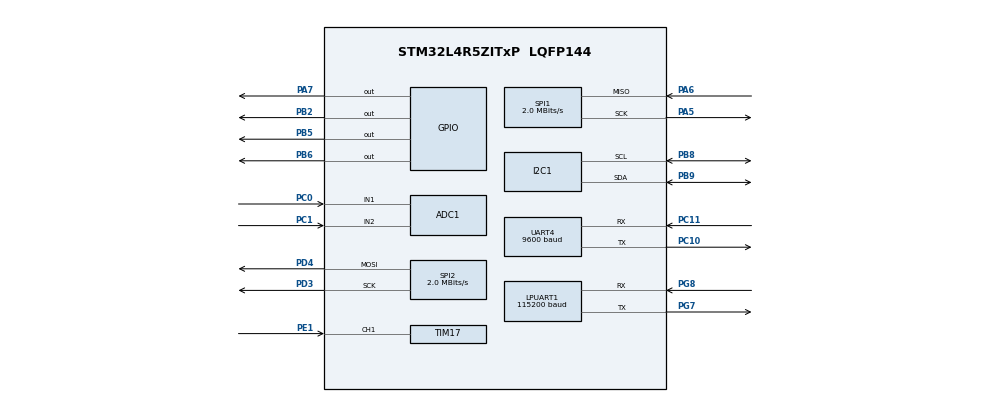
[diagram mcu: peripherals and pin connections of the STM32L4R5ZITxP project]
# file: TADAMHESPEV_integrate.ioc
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ADC1.Channel-0\#ChannelRegularConversion=ADC_CHANNEL_1
ADC1.Channel-1\#ChannelRegularConversion=ADC_CHANNEL_2
ADC1.ClockPrescaler=ADC_CLOCK_ASYNC_DIV32
ADC1.EnableAnalogWatchDog1=false
ADC1.NbrOfConversion=2
ADC1.NbrOfConversionFlag=1
ADC1.OffsetNumber-0\#ChannelRegularConversion=ADC_OFFSET_NONE
ADC1.OffsetNumber-1\#ChannelRegularConversion=ADC_OFFSET_NONE
ADC1.Rank-0\#ChannelRegularConversion=1
ADC1.Rank-1\#ChannelRegularConversion=2
ADC1.SamplingTime-0\#ChannelRegularConversion=ADC_SAMPLETIME_640CYCLES_5
ADC1.SamplingTime-1\#ChannelRegularConversion=ADC_SAMPLETIME_640CYCLES_5
ADC1.master=1
Dma.ADC1.0.Direction=DMA_PERIPH_TO_MEMORY
Dma.ADC1.0.EventEnable=DISABLE
Dma.ADC1.0.Instance=DMA1_Channel1
Dma.ADC1.0.MemDataAlignment=DMA_MDATAALIGN_HALFWORD
Dma.ADC1.0.MemInc=DMA_MINC_ENABLE
Dma.ADC1.0.Mode=DMA_NORMAL
Dma.ADC1.0.PeriphDataAlignment=DMA_PDATAALIGN_HALFWORD
Dma.ADC1.0.PeriphInc=DMA_PINC_DISABLE
Dma.ADC1.0.Polarity=HAL_DMAMUX_REQUEST_GEN_RISING
Dma.ADC1.0.Priority=DMA_PRIORITY_LOW
Dma.ADC1.0.RequestNumber=1
Dma.ADC1.0.SignalID=NONE
Dma.ADC1.0.SyncEnable=DISABLE
Dma.ADC1.0.SyncPolarity=HAL_DMAMUX_SYNC_NO_EVENT
Dma.ADC1.0.SyncRequestNumber=1
Dma.ADC1.0.SyncSignalID=NONE
Dma.Request0=ADC1
LPUART1.BaudRate=115200
LPUART1.WordLength=UART_WORDLENGTH_8B
Mcu.Family=STM32L4
Mcu.Name=STM32L4R5ZITxP
Mcu.Package=LQFP144
NVIC.DMA1_Channel1_IRQn=true\:0\:0\:false\:false\:true\:false\:true\:true
NVIC.PriorityGroup=NVIC_PRIORITYGROUP_2
NVIC.TIM1_BRK_TIM15_IRQn=true\:1\:0\:true\:false\:true\:true\:true\:true
NVIC.TIM1_TRG_COM_TIM17_IRQn=true\:0\:0\:false\:false\:true\:true\:true\:true
NVIC.TIM3_IRQn=true\:1\:1\:true\:false\:true\:true\:true\:true
PA0.Signal=S_TIM2_CH1
PA1.Signal=ADCx_IN6
PA10.Signal=USB_OTG_FS_ID
PA13\ (JTMS/SWDIO).Signal=SYS_JTMS-SWDIO
PA14\ (JTCK/SWCLK).Signal=SYS_JTCK-SWCLK
PA3.Signal=ADCx_IN8
PA4.Signal=SPI1_NSS
PA5.Mode=RX_Only_Simplex_Unidirect_Master
PA5.Signal=SPI1_SCK
PA6.Mode=RX_Only_Simplex_Unidirect_Master
PA6.Signal=SPI1_MISO
PA7.Signal=GPIO_Output
PA8.Signal=USB_OTG_FS_SOF
PA9.Signal=USB_OTG_FS_VBUS
PB0.Signal=S_TIM3_CH3
PB1.Signal=ADCx_IN16
PB10.Signal=S_TIM2_CH3
PB12.Signal=SAI2_FS_A
PB13.Signal=SAI2_SCK_A
PB14.Signal=S_TIM15_CH1
PB15.Signal=SAI2_SD_A
PB2.Signal=GPIO_Output
PB3\ (JTDO/TRACESWO).Signal=SPI3_SCK
PB4\ (NJTRST).Signal=SPI3_MISO
PB5.Signal=GPIO_Output
PB6.Signal=GPIO_Output
PB8.Mode=I2C
PB8.Signal=I2C1_SCL
PB9.Mode=I2C
PB9.Signal=I2C1_SDA
PC0.Signal=ADCx_IN1
PC1.Signal=ADCx_IN2
PC10.Mode=Asynchronous
PC10.Signal=UART4_TX
PC11.Mode=Asynchronous
PC11.Signal=UART4_RX
PC12.Signal=SDMMC1_CK
PC13.Signal=SYS_WKUP2
PC14-OSC32_IN\ (PC14).Signal=RCC_OSC32_IN
PC15-OSC32_OUT\ (PC15).Signal=RCC_OSC32_OUT
PC2.Signal=ADCx_IN3
PC3.Signal=ADCx_IN4
PC4.Signal=ADCx_IN13
PC5.Signal=ADCx_IN14
PC6.Signal=SAI2_MCLK_A
PC7.Signal=S_TIM3_CH2
PC8.Signal=SDMMC1_D0
PC9.Signal=SDMMC1_D1
PD0.Signal=CAN1_RX
PD14.Signal=S_TIM4_CH3
PD15.Signal=S_TIM4_CH4
PD2.Signal=SDMMC1_CMD
PD3.Mode=TX_Only_Simplex_Unidirect_Master
PD3.Signal=SPI2_SCK
PD4.Mode=TX_Only_Simplex_Unidirect_Master
PD4.Signal=SPI2_MOSI
PD5.Signal=USART2_TX
PD6.Signal=SPI3_MOSI
PD8.Signal=USART3_TX
PD9.Signal=USART3_RX
PE0.Signal=S_TIM4_ETR
PE1.Signal=S_TIM17_CH1
PE10.Signal=TIM1_CH2N
PE11.Signal=S_TIM1_CH2
PE12.Signal=TIM1_CH3N
PE13.Signal=S_TIM1_CH3
PE14.Signal=TIM1_BKIN2
PE15.Signal=TIM1_BKIN
PE2.Signal=SAI1_MCLK_A
PE3.Signal=SAI1_SD_B
PE7.Signal=S_TIM1_ETR
PE8.Signal=TIM1_CH1N
PE9.Signal=S_TIM1_CH1
PF0.Signal=I2C2_SDA
PF1.Signal=I2C2_SCL
PF2.Signal=I2C2_SMBA
PF7.Signal=SAI1_MCLK_B
PG7.Mode=Asynchronous
PG7.Signal=LPUART1_TX
PG8.Mode=Asynchronous
PG8.Signal=LPUART1_RX
PH0-OSC_IN\ (PH0).Signal=RCC_OSC_IN
PH1-OSC_OUT\ (PH1).Signal=RCC_OSC_OUT
ProjectManager.HeapSize=0x200
ProjectManager.StackSize=0x400
ProjectManager.TargetToolchain=STM32CubeIDE
RCC.ADCFreq_Value=32000000
RCC.HSE_VALUE=8000000
RCC.HSI48_VALUE=48000000
RCC.HSI_VALUE=16000000
RCC.LSE_VALUE=32768
RCC.MSI_VALUE=4000000
RCC.PLLSAI1N=16
RCC.USBFreq_Value=32000000
RCC.VCOOutputFreq_Value=32000000
SH.ADCx_IN1.0=ADC1_IN1,IN1-Single-Ended
SH.ADCx_IN13.0=ADC1_IN13
SH.ADCx_IN14.0=ADC1_IN14
SH.ADCx_IN16.0=ADC1_IN16
SH.ADCx_IN2.0=ADC1_IN2,IN2-Single-Ended
SH.ADCx_IN3.0=ADC1_IN3
SH.ADCx_IN4.0=ADC1_IN4
SH.ADCx_IN6.0=ADC1_IN6
SH.ADCx_IN8.0=ADC1_IN8
SH.S_TIM15_CH1.0=TIM15_CH1
SH.S_TIM17_CH1.0=TIM17_CH1,Input_Capture1_from_TI1
SH.S_TIM1_CH1.0=TIM1_CH1
SH.S_TIM1_CH2.0=TIM1_CH2
SH.S_TIM1_CH3.0=TIM1_CH3
SH.S_TIM1_ETR.0=TIM1_ETR
SH.S_TIM2_CH1.0=TIM2_CH1
SH.S_TIM2_CH3.0=TIM2_CH3
SH.S_TIM3_CH2.0=TIM3_CH2
SH.S_TIM3_CH3.0=TIM3_CH3
SH.S_TIM4_CH3.0=TIM4_CH3
SH.S_TIM4_CH4.0=TIM4_CH4
SH.S_TIM4_ETR.0=TIM4_ETR
SPI1.CalculateBaudRate=2.0 MBits/s
SPI1.DataSize=SPI_DATASIZE_16BIT
SPI1.Direction=SPI_DIRECTION_2LINES_RXONLY
SPI1.Mode=SPI_MODE_MASTER
SPI1.VirtualType=VM_MASTER
SPI2.CalculateBaudRate=2.0 MBits/s
SPI2.DataSize=SPI_DATASIZE_8BIT
SPI2.Direction=SPI_DIRECTION_2LINES
SPI2.Mode=SPI_MODE_MASTER
SPI2.VirtualType=VM_MASTER
TIM15.Period=49
TIM15.Prescaler=3999
TIM17.Channel=TIM_CHANNEL_1
TIM17.ICFilter_CH1=15
TIM17.ICPolarity_CH1=TIM_INPUTCHANNELPOLARITY_FALLING
TIM17.Prescaler=3999
TIM3.Period=499
TIM3.Prescaler=3999
UART4.BaudRate=9600
VP_TIM15_VS_ClockSourceINT.Mode=Internal
VP_TIM17_VS_ClockSourceINT.Mode=Enable_Timer
VP_TIM3_VS_ClockSourceINT.Mode=Internal
board=NUCLEO-L4R5ZI-P

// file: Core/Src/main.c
/* USER CODE BEGIN Header */
/**
  ******************************************************************************
  * @file           : main.c
  * @brief          : Main program body
  ******************************************************************************
  * @attention
  *
  * Copyright (c) 2023 STMicroelectronics.
  * All rights reserved.
  *
  * This software is licensed under terms that can be found in the LICENSE file
  * in the root directory of this software component.
  * If no LICENSE file comes with this software, it is provided AS-IS.
  *
  ******************************************************************************
  */
/* USER CODE END Header */
#include "main.h"

/* USER CODE BEGIN Includes */
#include "stdio.h"
#include "acc.h"
#include "led.h"
#include "TADAMHESPEVDataTemplate.h"
#include "math.h"
#include "stdlib.h"
/* USER CODE END Includes */

ADC_HandleTypeDef hadc1;
DMA_HandleTypeDef hdma_adc1;

I2C_HandleTypeDef hi2c1;

UART_HandleTypeDef hlpuart1;
UART_HandleTypeDef huart4;

SPI_HandleTypeDef hspi1;
SPI_HandleTypeDef hspi2;

TIM_HandleTypeDef htim3;
TIM_HandleTypeDef htim15;
TIM_HandleTypeDef htim17;

void SystemClock_Config(void);
static void MX_GPIO_Init(void);
static void MX_DMA_Init(void);
static void MX_I2C1_Init(void);
static void MX_SPI1_Init(void);
static void MX_TIM3_Init(void);
static void MX_TIM15_Init(void);
static void MX_TIM17_Init(void);
static void MX_LPUART1_UART_Init(void);
static void MX_SPI2_Init(void);
static void MX_UART4_Init(void);
static void MX_ADC1_Init(void);
/* USER CODE BEGIN PFP */
void TADStructToBuffer(float*, volatile struct TelData*);
/* USER CODE END PFP */

/* USER CODE BEGIN 0 */
volatile struct TelData teldata;
uint8_t buf[20];
struct Kalman {
	float prev_estimate;
	float gain;
	float signal_estimate;
	float error_estimate;
};

volatile struct Kalman volt_filter;
volatile struct Kalman curr_filter;

volatile uint16_t curVoltADC_DMA[2]; //https://www.youtube.com/watch?v=AloHXBk6Bfk
const int adcChannelCount = 2;
volatile int adcConversionComplete = 0;//set by callback

float volt_constant = 69.0 / (0b1 << 12);
float curr_constant = 3.3 / (0b1 << 12);

float KalmanEstimate(struct Kalman *filter, float measurement, float meas_error, float est_error, float noise) {
	if (filter->error_estimate == 0) filter->error_estimate = meas_error;
	filter->gain = filter->error_estimate/(filter->error_estimate + meas_error);
	filter->signal_estimate = filter->prev_estimate + filter->gain*(measurement - filter->prev_estimate);
	filter->error_estimate = (1.0 - filter->gain)*filter->error_estimate + fabs(filter->prev_estimate - filter->signal_estimate)*noise;
	filter->prev_estimate = filter->signal_estimate;
	return filter->signal_estimate;
}

uint16_t read_Temperature(uint16_t GPIO_PIN) {
	uint16_t spi_buf[2];
	// Set the CS1 pin to low
	HAL_GPIO_WritePin(GPIOB, GPIO_PIN, GPIO_PIN_RESET);

	// Receive the data
	HAL_SPI_Receive(&hspi1, spi_buf, sizeof(spi_buf), 100);

	// Set the CS pin back to high
	HAL_GPIO_WritePin(GPIOB, GPIO_PIN, GPIO_PIN_SET);

	// delay for a bit
//	HAL_Delay(1000);

	// handle the data
	// spi_buf[0] contains the first 16 bits of data
	// spi_buf[1] contains the last 16 bits of data
	uint16_t external_temp = 0;
	uint16_t internal_temp = 0;
	uint8_t fault = 0;
	external_temp |= (spi_buf[0] >> 2) & 0xFFFF; // keep all data values
	internal_temp |= (spi_buf[1] >> 4) & 0xFFFF; // keep all data values
	fault |= spi_buf[0] & 0x01; // only want the LSB
//	printf("External Temperature of %d: %d \n\r", GPIO_PIN, (external_temp/4));
//	printf("Internal Temperature of %d: %d \n\r", GPIO_PIN, (internal_temp/16));
	if(fault) {
		printf("ERROR \n\r");
	}

	// reset spi_buffer
	spi_buf[0] = 0;
	spi_buf[1] = 0;

	return external_temp/4;
}

#define NUM_CUR_READS 10
void CalculateCurrent(uint16_t adcRead){
	float curr = ((adcRead*curr_constant) - 1.72)/0.0545; //adc equation to get input current
	teldata.current = KalmanEstimate(&curr_filter,curr,1.0,1.0,0.015);
}

void CalculateVoltage(uint16_t adcRead){
	float volt = adcRead * volt_constant; //adc equation to get input voltage
	teldata.voltage = KalmanEstimate(&volt_filter,volt,1.0,1.0,0.015);
}

void TakeADCMeasurement(){
	HAL_ADC_Start_DMA(&hadc1, (uint32_t*) curVoltADC_DMA, adcChannelCount);
	while (adcConversionComplete == 0);
	adcConversionComplete = 0;

}
/* USER CODE END 0 */

int main(void)
{

  /* MCU Configuration--------------------------------------------------------*/

  /* Reset of all peripherals, Initializes the Flash interface and the Systick. */
  HAL_Init();

  /* Configure the system clock */
  SystemClock_Config();

  /* USER CODE BEGIN SysInit */
  HAL_Delay(6000); //wait for lcd to set up
  /* USER CODE END SysInit */

  /* Initialize all configured peripherals */
  MX_GPIO_Init();
  MX_DMA_Init();
  MX_I2C1_Init();
  MX_SPI1_Init();
  MX_TIM3_Init();
  MX_TIM15_Init();
  MX_TIM17_Init();
  MX_LPUART1_UART_Init();
  MX_SPI2_Init();
  MX_UART4_Init();
  MX_ADC1_Init();
  /* USER CODE BEGIN 2 */
  printf("start integrated\n");
  	uint8_t junk[19];
	HAL_UART_Transmit(&huart4, (uint8_t*) &junk, sizeof(junk), 100); //clear uart of secondary mcu
	// CS for all sensors should be high
	HAL_GPIO_WritePin(GPIOB, GPIO_PIN_5, GPIO_PIN_SET);
	HAL_GPIO_WritePin(GPIOB, GPIO_PIN_2, GPIO_PIN_SET);
	HAL_GPIO_WritePin(GPIOB, GPIO_PIN_6, GPIO_PIN_SET);

	setupAccModule();
	setupLEDS();

	// Start Timer
	HAL_TIM_Base_Start_IT(&htim3);
	HAL_TIM_Base_Start_IT(&htim15);
	HAL_TIM_IC_Start_IT(&htim17,TIM_CHANNEL_1);

	float buff[5];
	int voltageLoopCount = 0;
	int speedCount = 0;
	const int numSamples = 10;
	uint32_t curAvg = 0, volAvg = 0;

  /* USER CODE END 2 */

  /* Infinite loop */
  /* USER CODE BEGIN WHILE */

  while (1)
  {

//	  	uint32_t ADC_VAL = 0;
//		HAL_ADC_Start(&hadc1);	//start conversion
//		HAL_ADC_PollForConversion(&hadc1, 0xFFFFFFFF);//wait for conversion to finish
//		ADC_VAL = HAL_ADC_GetValue(&hadc1);//retrieve value
//		teldata.current = ADC_VAL;
//		printf("adcval: %d\n", ADC_VAL);

	  	for(int i = 0; i < numSamples ; ++i){ //take 10 samples
	  		TakeADCMeasurement();
	  		volAvg += curVoltADC_DMA[0];
	  		curAvg += curVoltADC_DMA[1];
	  	}
	  	curAvg/=numSamples;
	  	volAvg/=numSamples;
	  	printf("CUR AVG %d, VOL AVG %d\n", curAvg, volAvg);
	  	CalculateCurrent(curAvg);
	  	if(voltageLoopCount == 0 || (++voltageLoopCount)%20==0) CalculateVoltage(volAvg);

//	  	HAL_ADC_Start_DMA(&hadc1, (uint32_t*)curVoltADC_DMA, adcChannelCount);
//	  	while(adcConversionComplete==0);
//	  	adcConversionComplete = 0;
//	  	CalculateCurrent(curVoltADC_DMA[0]);
//	  	if((++voltageLoopCount)%60==0) CalculateVoltage(curVoltADC_DMA[1]);

	  	//printf("ADC CURRENT %d, ADC VOLT %d", curVoltADC_DMA[0], curVoltADC_DMA[1]);
	  	if (teldata.speed == buff[2]) {
	  		speedCount++;
	  	} else {
	  		speedCount = 0;
	  	}
	  	if (speedCount >= 3) {
	  		teldata.speed = 0;
	  	}

		printf("Telemetry Data:\n");
		printf("Acceleration: %f\n", teldata.accel);
		printf("Temperature: %f\n", teldata.temp);
		printf("Speed: %f\n", teldata.speed);
		printf("Voltage: %f\n", teldata.voltage);
		printf("Current: %f\n\n", teldata.current);

		TADStructToBuffer(buff, &teldata);
		HAL_TIM_Base_Stop_IT(&htim15);
//		HAL_Delay(200);
		HAL_UART_Transmit(&huart4, (uint8_t*) &buff, sizeof(buff), 100);
		HAL_Delay(200);
		HAL_TIM_Base_Start_IT(&htim15);
		printf("uart trans\n");
		HAL_Delay(500);
    /* USER CODE END WHILE */

  }
}

void SystemClock_Config(void)
{
  RCC_OscInitTypeDef RCC_OscInitStruct = {0};
  RCC_ClkInitTypeDef RCC_ClkInitStruct = {0};

  /** Configure the main internal regulator output voltage
  */
  if (HAL_PWREx_ControlVoltageScaling(PWR_REGULATOR_VOLTAGE_SCALE1) != HAL_OK)
  {
    Error_Handler();
  }

  /** Initializes the RCC Oscillators according to the specified parameters
  * in the RCC_OscInitTypeDef structure.
  */
  RCC_OscInitStruct.OscillatorType = RCC_OSCILLATORTYPE_MSI;
  RCC_OscInitStruct.MSIState = RCC_MSI_ON;
  RCC_OscInitStruct.MSICalibrationValue = 0;
  RCC_OscInitStruct.MSIClockRange = RCC_MSIRANGE_6;
  RCC_OscInitStruct.PLL.PLLState = RCC_PLL_NONE;
  if (HAL_RCC_OscConfig(&RCC_OscInitStruct) != HAL_OK)
  {
    Error_Handler();
  }

  /** Initializes the CPU, AHB and APB buses clocks
  */
  RCC_ClkInitStruct.ClockType = RCC_CLOCKTYPE_HCLK|RCC_CLOCKTYPE_SYSCLK
                              |RCC_CLOCKTYPE_PCLK1|RCC_CLOCKTYPE_PCLK2;
  RCC_ClkInitStruct.SYSCLKSource = RCC_SYSCLKSOURCE_MSI;
  RCC_ClkInitStruct.AHBCLKDivider = RCC_SYSCLK_DIV1;
  RCC_ClkInitStruct.APB1CLKDivider = RCC_HCLK_DIV1;
  RCC_ClkInitStruct.APB2CLKDivider = RCC_HCLK_DIV1;

  if (HAL_RCC_ClockConfig(&RCC_ClkInitStruct, FLASH_LATENCY_0) != HAL_OK)
  {
    Error_Handler();
  }
}

static void MX_ADC1_Init(void)
{

  ADC_ChannelConfTypeDef sConfig = {0};

  /** Common config
  */
  hadc1.Instance = ADC1;
  hadc1.Init.ClockPrescaler = ADC_CLOCK_ASYNC_DIV32;
  hadc1.Init.Resolution = ADC_RESOLUTION_12B;
  hadc1.Init.DataAlign = ADC_DATAALIGN_RIGHT;
  hadc1.Init.ScanConvMode = ADC_SCAN_ENABLE;
  hadc1.Init.EOCSelection = ADC_EOC_SINGLE_CONV;
  hadc1.Init.LowPowerAutoWait = DISABLE;
  hadc1.Init.ContinuousConvMode = DISABLE;
  hadc1.Init.NbrOfConversion = 2;
  hadc1.Init.DiscontinuousConvMode = DISABLE;
  hadc1.Init.ExternalTrigConv = ADC_SOFTWARE_START;
  hadc1.Init.ExternalTrigConvEdge = ADC_EXTERNALTRIGCONVEDGE_NONE;
  hadc1.Init.DMAContinuousRequests = DISABLE;
  hadc1.Init.Overrun = ADC_OVR_DATA_PRESERVED;
  hadc1.Init.OversamplingMode = DISABLE;
  if (HAL_ADC_Init(&hadc1) != HAL_OK)
  {
    Error_Handler();
  }

  /** Configure Regular Channel
  */
  sConfig.Channel = ADC_CHANNEL_1;
  sConfig.Rank = ADC_REGULAR_RANK_1;
  sConfig.SamplingTime = ADC_SAMPLETIME_640CYCLES_5;
  sConfig.SingleDiff = ADC_SINGLE_ENDED;
  sConfig.OffsetNumber = ADC_OFFSET_NONE;
  sConfig.Offset = 0;
  if (HAL_ADC_ConfigChannel(&hadc1, &sConfig) != HAL_OK)
  {
    Error_Handler();
  }

  /** Configure Regular Channel
  */
  sConfig.Channel = ADC_CHANNEL_2;
  sConfig.Rank = ADC_REGULAR_RANK_2;
  if (HAL_ADC_ConfigChannel(&hadc1, &sConfig) != HAL_OK)
  {
    Error_Handler();
  }

}

static void MX_I2C1_Init(void)
{

  hi2c1.Instance = I2C1;
  hi2c1.Init.Timing = 0x00000E14;
  hi2c1.Init.OwnAddress1 = 0;
  hi2c1.Init.AddressingMode = I2C_ADDRESSINGMODE_7BIT;
  hi2c1.Init.DualAddressMode = I2C_DUALADDRESS_DISABLE;
  hi2c1.Init.OwnAddress2 = 0;
  hi2c1.Init.OwnAddress2Masks = I2C_OA2_NOMASK;
  hi2c1.Init.GeneralCallMode = I2C_GENERALCALL_DISABLE;
  hi2c1.Init.NoStretchMode = I2C_NOSTRETCH_DISABLE;
  if (HAL_I2C_Init(&hi2c1) != HAL_OK)
  {
    Error_Handler();
  }

  /** Configure Analogue filter
  */
  if (HAL_I2CEx_ConfigAnalogFilter(&hi2c1, I2C_ANALOGFILTER_ENABLE) != HAL_OK)
  {
    Error_Handler();
  }

  /** Configure Digital filter
  */
  if (HAL_I2CEx_ConfigDigitalFilter(&hi2c1, 0) != HAL_OK)
  {
    Error_Handler();
  }

}

static void MX_LPUART1_UART_Init(void)
{

  hlpuart1.Instance = LPUART1;
  hlpuart1.Init.BaudRate = 115200;
  hlpuart1.Init.WordLength = UART_WORDLENGTH_8B;
  hlpuart1.Init.StopBits = UART_STOPBITS_1;
  hlpuart1.Init.Parity = UART_PARITY_NONE;
  hlpuart1.Init.Mode = UART_MODE_TX_RX;
  hlpuart1.Init.HwFlowCtl = UART_HWCONTROL_NONE;
  hlpuart1.Init.OneBitSampling = UART_ONE_BIT_SAMPLE_DISABLE;
  hlpuart1.Init.ClockPrescaler = UART_PRESCALER_DIV1;
  hlpuart1.AdvancedInit.AdvFeatureInit = UART_ADVFEATURE_NO_INIT;
  hlpuart1.FifoMode = UART_FIFOMODE_DISABLE;
  if (HAL_UART_Init(&hlpuart1) != HAL_OK)
  {
    Error_Handler();
  }
  if (HAL_UARTEx_SetTxFifoThreshold(&hlpuart1, UART_TXFIFO_THRESHOLD_1_8) != HAL_OK)
  {
    Error_Handler();
  }
  if (HAL_UARTEx_SetRxFifoThreshold(&hlpuart1, UART_RXFIFO_THRESHOLD_1_8) != HAL_OK)
  {
    Error_Handler();
  }
  if (HAL_UARTEx_DisableFifoMode(&hlpuart1) != HAL_OK)
  {
    Error_Handler();
  }

}

static void MX_UART4_Init(void)
{

  huart4.Instance = UART4;
  huart4.Init.BaudRate = 9600;
  huart4.Init.WordLength = UART_WORDLENGTH_8B;
  huart4.Init.StopBits = UART_STOPBITS_1;
  huart4.Init.Parity = UART_PARITY_NONE;
  huart4.Init.Mode = UART_MODE_TX_RX;
  huart4.Init.HwFlowCtl = UART_HWCONTROL_NONE;
  huart4.Init.OverSampling = UART_OVERSAMPLING_16;
  huart4.Init.OneBitSampling = UART_ONE_BIT_SAMPLE_DISABLE;
  huart4.Init.ClockPrescaler = UART_PRESCALER_DIV1;
  huart4.AdvancedInit.AdvFeatureInit = UART_ADVFEATURE_NO_INIT;
  if (HAL_UART_Init(&huart4) != HAL_OK)
  {
    Error_Handler();
  }
  if (HAL_UARTEx_SetTxFifoThreshold(&huart4, UART_TXFIFO_THRESHOLD_1_8) != HAL_OK)
  {
    Error_Handler();
  }
  if (HAL_UARTEx_SetRxFifoThreshold(&huart4, UART_RXFIFO_THRESHOLD_1_8) != HAL_OK)
  {
    Error_Handler();
  }
  if (HAL_UARTEx_DisableFifoMode(&huart4) != HAL_OK)
  {
    Error_Handler();
  }

}

static void MX_SPI1_Init(void)
{

  /* SPI1 parameter configuration*/
  hspi1.Instance = SPI1;
  hspi1.Init.Mode = SPI_MODE_MASTER;
  hspi1.Init.Direction = SPI_DIRECTION_2LINES_RXONLY;
  hspi1.Init.DataSize = SPI_DATASIZE_16BIT;
  hspi1.Init.CLKPolarity = SPI_POLARITY_LOW;
  hspi1.Init.CLKPhase = SPI_PHASE_1EDGE;
  hspi1.Init.NSS = SPI_NSS_SOFT;
  hspi1.Init.BaudRatePrescaler = SPI_BAUDRATEPRESCALER_2;
  hspi1.Init.FirstBit = SPI_FIRSTBIT_MSB;
  hspi1.Init.TIMode = SPI_TIMODE_DISABLE;
  hspi1.Init.CRCCalculation = SPI_CRCCALCULATION_DISABLE;
  hspi1.Init.CRCPolynomial = 7;
  hspi1.Init.CRCLength = SPI_CRC_LENGTH_DATASIZE;
  hspi1.Init.NSSPMode = SPI_NSS_PULSE_ENABLE;
  if (HAL_SPI_Init(&hspi1) != HAL_OK)
  {
    Error_Handler();
  }

}

static void MX_SPI2_Init(void)
{

  /* SPI2 parameter configuration*/
  hspi2.Instance = SPI2;
  hspi2.Init.Mode = SPI_MODE_MASTER;
  hspi2.Init.Direction = SPI_DIRECTION_2LINES;
  hspi2.Init.DataSize = SPI_DATASIZE_8BIT;
  hspi2.Init.CLKPolarity = SPI_POLARITY_LOW;
  hspi2.Init.CLKPhase = SPI_PHASE_1EDGE;
  hspi2.Init.NSS = SPI_NSS_SOFT;
  hspi2.Init.BaudRatePrescaler = SPI_BAUDRATEPRESCALER_2;
  hspi2.Init.FirstBit = SPI_FIRSTBIT_MSB;
  hspi2.Init.TIMode = SPI_TIMODE_DISABLE;
  hspi2.Init.CRCCalculation = SPI_CRCCALCULATION_DISABLE;
  hspi2.Init.CRCPolynomial = 7;
  hspi2.Init.CRCLength = SPI_CRC_LENGTH_DATASIZE;
  hspi2.Init.NSSPMode = SPI_NSS_PULSE_ENABLE;
  if (HAL_SPI_Init(&hspi2) != HAL_OK)
  {
    Error_Handler();
  }

}

static void MX_TIM3_Init(void)
{

  TIM_ClockConfigTypeDef sClockSourceConfig = {0};
  TIM_MasterConfigTypeDef sMasterConfig = {0};

  htim3.Instance = TIM3;
  htim3.Init.Prescaler = 3999;
  htim3.Init.CounterMode = TIM_COUNTERMODE_UP;
  htim3.Init.Period = 499;
  htim3.Init.ClockDivision = TIM_CLOCKDIVISION_DIV1;
  htim3.Init.AutoReloadPreload = TIM_AUTORELOAD_PRELOAD_DISABLE;
  if (HAL_TIM_Base_Init(&htim3) != HAL_OK)
  {
    Error_Handler();
  }
  sClockSourceConfig.ClockSource = TIM_CLOCKSOURCE_INTERNAL;
  if (HAL_TIM_ConfigClockSource(&htim3, &sClockSourceConfig) != HAL_OK)
  {
    Error_Handler();
  }
  sMasterConfig.MasterOutputTrigger = TIM_TRGO_RESET;
  sMasterConfig.MasterSlaveMode = TIM_MASTERSLAVEMODE_DISABLE;
  if (HAL_TIMEx_MasterConfigSynchronization(&htim3, &sMasterConfig) != HAL_OK)
  {
    Error_Handler();
  }

}

static void MX_TIM15_Init(void)
{

  TIM_ClockConfigTypeDef sClockSourceConfig = {0};
  TIM_MasterConfigTypeDef sMasterConfig = {0};

  htim15.Instance = TIM15;
  htim15.Init.Prescaler = 3999;
  htim15.Init.CounterMode = TIM_COUNTERMODE_UP;
  htim15.Init.Period = 49;
  htim15.Init.ClockDivision = TIM_CLOCKDIVISION_DIV1;
  htim15.Init.RepetitionCounter = 0;
  htim15.Init.AutoReloadPreload = TIM_AUTORELOAD_PRELOAD_DISABLE;
  if (HAL_TIM_Base_Init(&htim15) != HAL_OK)
  {
    Error_Handler();
  }
  sClockSourceConfig.ClockSource = TIM_CLOCKSOURCE_INTERNAL;
  if (HAL_TIM_ConfigClockSource(&htim15, &sClockSourceConfig) != HAL_OK)
  {
    Error_Handler();
  }
  sMasterConfig.MasterOutputTrigger = TIM_TRGO_RESET;
  sMasterConfig.MasterSlaveMode = TIM_MASTERSLAVEMODE_DISABLE;
  if (HAL_TIMEx_MasterConfigSynchronization(&htim15, &sMasterConfig) != HAL_OK)
  {
    Error_Handler();
  }

}

static void MX_TIM17_Init(void)
{

  TIM_IC_InitTypeDef sConfigIC = {0};

  htim17.Instance = TIM17;
  htim17.Init.Prescaler = 3999;
  htim17.Init.CounterMode = TIM_COUNTERMODE_UP;
  htim17.Init.Period = 65535;
  htim17.Init.ClockDivision = TIM_CLOCKDIVISION_DIV1;
  htim17.Init.RepetitionCounter = 0;
  htim17.Init.AutoReloadPreload = TIM_AUTORELOAD_PRELOAD_DISABLE;
  if (HAL_TIM_Base_Init(&htim17) != HAL_OK)
  {
    Error_Handler();
  }
  if (HAL_TIM_IC_Init(&htim17) != HAL_OK)
  {
    Error_Handler();
  }
  sConfigIC.ICPolarity = TIM_INPUTCHANNELPOLARITY_FALLING;
  sConfigIC.ICSelection = TIM_ICSELECTION_DIRECTTI;
  sConfigIC.ICPrescaler = TIM_ICPSC_DIV1;
  sConfigIC.ICFilter = 15;
  if (HAL_TIM_IC_ConfigChannel(&htim17, &sConfigIC, TIM_CHANNEL_1) != HAL_OK)
  {
    Error_Handler();
  }

}

static void MX_DMA_Init(void)
{

  /* DMA controller clock enable */
  __HAL_RCC_DMAMUX1_CLK_ENABLE();
  __HAL_RCC_DMA1_CLK_ENABLE();

  /* DMA interrupt init */
  /* DMA1_Channel1_IRQn interrupt configuration */
  HAL_NVIC_SetPriority(DMA1_Channel1_IRQn, 0, 0);
  HAL_NVIC_EnableIRQ(DMA1_Channel1_IRQn);

}

static void MX_GPIO_Init(void)
{
  GPIO_InitTypeDef GPIO_InitStruct = {0};

  /* GPIO Ports Clock Enable */
  __HAL_RCC_GPIOE_CLK_ENABLE();
  __HAL_RCC_GPIOC_CLK_ENABLE();
  __HAL_RCC_GPIOF_CLK_ENABLE();
  __HAL_RCC_GPIOH_CLK_ENABLE();
  __HAL_RCC_GPIOA_CLK_ENABLE();
  __HAL_RCC_GPIOB_CLK_ENABLE();
  __HAL_RCC_GPIOD_CLK_ENABLE();
  __HAL_RCC_GPIOG_CLK_ENABLE();
  HAL_PWREx_EnableVddIO2();

  /*Configure GPIO pin Output Level */
  HAL_GPIO_WritePin(GPIOA, GPIO_PIN_7, GPIO_PIN_RESET);

  /*Configure GPIO pin Output Level */
  HAL_GPIO_WritePin(GPIOB, GPIO_PIN_2|GPIO_PIN_5|GPIO_PIN_6, GPIO_PIN_RESET);

  /*Configure GPIO pins : PE2 PE3 */
  GPIO_InitStruct.Pin = GPIO_PIN_2|GPIO_PIN_3;
  GPIO_InitStruct.Mode = GPIO_MODE_AF_PP;
  GPIO_InitStruct.Pull = GPIO_NOPULL;
  GPIO_InitStruct.Speed = GPIO_SPEED_FREQ_LOW;
  GPIO_InitStruct.Alternate = GPIO_AF13_SAI1;
  HAL_GPIO_Init(GPIOE, &GPIO_InitStruct);

  /*Configure GPIO pins : PF0 PF1 PF2 */
  GPIO_InitStruct.Pin = GPIO_PIN_0|GPIO_PIN_1|GPIO_PIN_2;
  GPIO_InitStruct.Mode = GPIO_MODE_AF_OD;
  GPIO_InitStruct.Pull = GPIO_NOPULL;
  GPIO_InitStruct.Speed = GPIO_SPEED_FREQ_VERY_HIGH;
  GPIO_InitStruct.Alternate = GPIO_AF4_I2C2;
  HAL_GPIO_Init(GPIOF, &GPIO_InitStruct);

  /*Configure GPIO pin : PF7 */
  GPIO_InitStruct.Pin = GPIO_PIN_7;
  GPIO_InitStruct.Mode = GPIO_MODE_AF_PP;
  GPIO_InitStruct.Pull = GPIO_NOPULL;
  GPIO_InitStruct.Speed = GPIO_SPEED_FREQ_LOW;
  GPIO_InitStruct.Alternate = GPIO_AF13_SAI1;
  HAL_GPIO_Init(GPIOF, &GPIO_InitStruct);

  /*Configure GPIO pin : PA0 */
  GPIO_InitStruct.Pin = GPIO_PIN_0;
  GPIO_InitStruct.Mode = GPIO_MODE_AF_PP;
  GPIO_InitStruct.Pull = GPIO_NOPULL;
  GPIO_InitStruct.Speed = GPIO_SPEED_FREQ_LOW;
  GPIO_InitStruct.Alternate = GPIO_AF1_TIM2;
  HAL_GPIO_Init(GPIOA, &GPIO_InitStruct);

  /*Configure GPIO pin : PA7 */
  GPIO_InitStruct.Pin = GPIO_PIN_7;
  GPIO_InitStruct.Mode = GPIO_MODE_OUTPUT_PP;
  GPIO_InitStruct.Pull = GPIO_NOPULL;
  GPIO_InitStruct.Speed = GPIO_SPEED_FREQ_LOW;
  HAL_GPIO_Init(GPIOA, &GPIO_InitStruct);

  /*Configure GPIO pins : PB2 PB5 PB6 */
  GPIO_InitStruct.Pin = GPIO_PIN_2|GPIO_PIN_5|GPIO_PIN_6;
  GPIO_InitStruct.Mode = GPIO_MODE_OUTPUT_PP;
  GPIO_InitStruct.Pull = GPIO_NOPULL;
  GPIO_InitStruct.Speed = GPIO_SPEED_FREQ_LOW;
  HAL_GPIO_Init(GPIOB, &GPIO_InitStruct);

  /*Configure GPIO pins : PE7 PE8 PE9 PE10
                           PE11 PE12 PE13 */
  GPIO_InitStruct.Pin = GPIO_PIN_7|GPIO_PIN_8|GPIO_PIN_9|GPIO_PIN_10
                          |GPIO_PIN_11|GPIO_PIN_12|GPIO_PIN_13;
  GPIO_InitStruct.Mode = GPIO_MODE_AF_PP;
  GPIO_InitStruct.Pull = GPIO_NOPULL;
  GPIO_InitStruct.Speed = GPIO_SPEED_FREQ_LOW;
  GPIO_InitStruct.Alternate = GPIO_AF1_TIM1;
  HAL_GPIO_Init(GPIOE, &GPIO_InitStruct);

  /*Configure GPIO pins : PE14 PE15 */
  GPIO_InitStruct.Pin = GPIO_PIN_14|GPIO_PIN_15;
  GPIO_InitStruct.Mode = GPIO_MODE_AF_PP;
  GPIO_InitStruct.Pull = GPIO_NOPULL;
  GPIO_InitStruct.Speed = GPIO_SPEED_FREQ_LOW;
  GPIO_InitStruct.Alternate = GPIO_AF3_TIM1_COMP1;
  HAL_GPIO_Init(GPIOE, &GPIO_InitStruct);

  /*Configure GPIO pin : PB10 */
  GPIO_InitStruct.Pin = GPIO_PIN_10;
  GPIO_InitStruct.Mode = GPIO_MODE_AF_PP;
  GPIO_InitStruct.Pull = GPIO_NOPULL;
  GPIO_InitStruct.Speed = GPIO_SPEED_FREQ_LOW;
  GPIO_InitStruct.Alternate = GPIO_AF1_TIM2;
  HAL_GPIO_Init(GPIOB, &GPIO_InitStruct);

  /*Configure GPIO pins : PB12 PB13 PB15 */
  GPIO_InitStruct.Pin = GPIO_PIN_12|GPIO_PIN_13|GPIO_PIN_15;
  GPIO_InitStruct.Mode = GPIO_MODE_AF_PP;
  GPIO_InitStruct.Pull = GPIO_NOPULL;
  GPIO_InitStruct.Speed = GPIO_SPEED_FREQ_LOW;
  GPIO_InitStruct.Alternate = GPIO_AF13_SAI2;
  HAL_GPIO_Init(GPIOB, &GPIO_InitStruct);

  /*Configure GPIO pins : PD8 PD9 */
  GPIO_InitStruct.Pin = GPIO_PIN_8|GPIO_PIN_9;
  GPIO_InitStruct.Mode = GPIO_MODE_AF_PP;
  GPIO_InitStruct.Pull = GPIO_NOPULL;
  GPIO_InitStruct.Speed = GPIO_SPEED_FREQ_VERY_HIGH;
  GPIO_InitStruct.Alternate = GPIO_AF7_USART3;
  HAL_GPIO_Init(GPIOD, &GPIO_InitStruct);

  /*Configure GPIO pins : PD14 PD15 */
  GPIO_InitStruct.Pin = GPIO_PIN_14|GPIO_PIN_15;
  GPIO_InitStruct.Mode = GPIO_MODE_AF_PP;
  GPIO_InitStruct.Pull = GPIO_NOPULL;
  GPIO_InitStruct.Speed = GPIO_SPEED_FREQ_LOW;
  GPIO_InitStruct.Alternate = GPIO_AF2_TIM4;
  HAL_GPIO_Init(GPIOD, &GPIO_InitStruct);

  /*Configure GPIO pin : PC6 */
  GPIO_InitStruct.Pin = GPIO_PIN_6;
  GPIO_InitStruct.Mode = GPIO_MODE_AF_PP;
  GPIO_InitStruct.Pull = GPIO_NOPULL;
  GPIO_InitStruct.Speed = GPIO_SPEED_FREQ_LOW;
  GPIO_InitStruct.Alternate = GPIO_AF13_SAI2;
  HAL_GPIO_Init(GPIOC, &GPIO_InitStruct);

  /*Configure GPIO pins : PC8 PC9 PC12 */
  GPIO_InitStruct.Pin = GPIO_PIN_8|GPIO_PIN_9|GPIO_PIN_12;
  GPIO_InitStruct.Mode = GPIO_MODE_AF_PP;
  GPIO_InitStruct.Pull = GPIO_NOPULL;
  GPIO_InitStruct.Speed = GPIO_SPEED_FREQ_VERY_HIGH;
  GPIO_InitStruct.Alternate = GPIO_AF12_SDMMC1;
  HAL_GPIO_Init(GPIOC, &GPIO_InitStruct);

  /*Configure GPIO pins : PA8 PA10 */
  GPIO_InitStruct.Pin = GPIO_PIN_8|GPIO_PIN_10;
  GPIO_InitStruct.Mode = GPIO_MODE_AF_PP;
  GPIO_InitStruct.Pull = GPIO_NOPULL;
  GPIO_InitStruct.Speed = GPIO_SPEED_FREQ_VERY_HIGH;
  GPIO_InitStruct.Alternate = GPIO_AF10_OTG_FS;
  HAL_GPIO_Init(GPIOA, &GPIO_InitStruct);

  /*Configure GPIO pin : PA9 */
  GPIO_InitStruct.Pin = GPIO_PIN_9;
  GPIO_InitStruct.Mode = GPIO_MODE_INPUT;
  GPIO_InitStruct.Pull = GPIO_NOPULL;
  HAL_GPIO_Init(GPIOA, &GPIO_InitStruct);

  /*Configure GPIO pin : PD0 */
  GPIO_InitStruct.Pin = GPIO_PIN_0;
  GPIO_InitStruct.Mode = GPIO_MODE_AF_PP;
  GPIO_InitStruct.Pull = GPIO_NOPULL;
  GPIO_InitStruct.Speed = GPIO_SPEED_FREQ_VERY_HIGH;
  GPIO_InitStruct.Alternate = GPIO_AF9_CAN1;
  HAL_GPIO_Init(GPIOD, &GPIO_InitStruct);

  /*Configure GPIO pin : PD2 */
  GPIO_InitStruct.Pin = GPIO_PIN_2;
  GPIO_InitStruct.Mode = GPIO_MODE_AF_PP;
  GPIO_InitStruct.Pull = GPIO_NOPULL;
  GPIO_InitStruct.Speed = GPIO_SPEED_FREQ_VERY_HIGH;
  GPIO_InitStruct.Alternate = GPIO_AF12_SDMMC1;
  HAL_GPIO_Init(GPIOD, &GPIO_InitStruct);

  /*Configure GPIO pin : PD5 */
  GPIO_InitStruct.Pin = GPIO_PIN_5;
  GPIO_InitStruct.Mode = GPIO_MODE_AF_PP;
  GPIO_InitStruct.Pull = GPIO_NOPULL;
  GPIO_InitStruct.Speed = GPIO_SPEED_FREQ_VERY_HIGH;
  GPIO_InitStruct.Alternate = GPIO_AF7_USART2;
  HAL_GPIO_Init(GPIOD, &GPIO_InitStruct);

  /*Configure GPIO pin : PD6 */
  GPIO_InitStruct.Pin = GPIO_PIN_6;
  GPIO_InitStruct.Mode = GPIO_MODE_AF_PP;
  GPIO_InitStruct.Pull = GPIO_NOPULL;
  GPIO_InitStruct.Speed = GPIO_SPEED_FREQ_VERY_HIGH;
  GPIO_InitStruct.Alternate = GPIO_AF5_SPI3;
  HAL_GPIO_Init(GPIOD, &GPIO_InitStruct);

  /*Configure GPIO pins : PB3 PB4 */
  GPIO_InitStruct.Pin = GPIO_PIN_3|GPIO_PIN_4;
  GPIO_InitStruct.Mode = GPIO_MODE_AF_PP;
  GPIO_InitStruct.Pull = GPIO_NOPULL;
  GPIO_InitStruct.Speed = GPIO_SPEED_FREQ_VERY_HIGH;
  GPIO_InitStruct.Alternate = GPIO_AF6_SPI3;
  HAL_GPIO_Init(GPIOB, &GPIO_InitStruct);

  /*Configure GPIO pin : PE0 */
  GPIO_InitStruct.Pin = GPIO_PIN_0;
  GPIO_InitStruct.Mode = GPIO_MODE_AF_PP;
  GPIO_InitStruct.Pull = GPIO_NOPULL;
  GPIO_InitStruct.Speed = GPIO_SPEED_FREQ_LOW;
  GPIO_InitStruct.Alternate = GPIO_AF2_TIM4;
  HAL_GPIO_Init(GPIOE, &GPIO_InitStruct);

}

/* USER CODE BEGIN 4 */
#ifdef __GNUC__
#define PUTCHAR_PROTOTYPE int __io_putchar(int ch)
#else
  #define PUTCHAR_PROTOTYPE int fputc(int ch, FILE *f)
#endif /* __GNUC__ */
PUTCHAR_PROTOTYPE
{
  HAL_UART_Transmit(&hlpuart1, (uint8_t *)&ch, 1, 0xFFFF);
  return ch;
}

void HAL_ADC_ConvCpltCallback(ADC_HandleTypeDef *hadc){
	adcConversionComplete = 1;
}

/* USER CODE END 4 */

void Error_Handler(void)
{
  __disable_irq();
  while (1)
  {
  }
}
